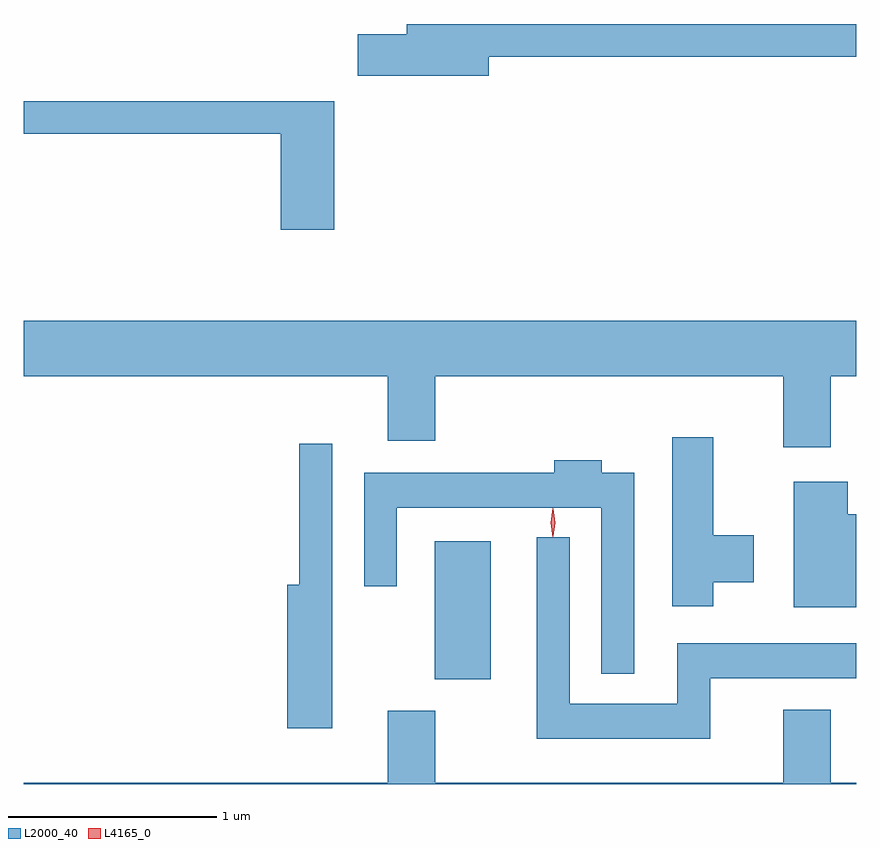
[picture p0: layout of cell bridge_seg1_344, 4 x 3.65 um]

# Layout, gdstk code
import gdstk
lib = gdstk.Library(unit=1e-6, precision=1e-09)
def R(c, l, rs):  # rectangles x0, y0, x1, y1
    for r in rs: c.add(gdstk.rectangle(r[:2], r[2:], *l))
def P(c, l, *ps):  # polygons
    for p in ps: c.add(gdstk.Polygon(p, *l))
L2000_40 = (2000, 40)
L4165_0 = (4165, 0)

bridge_seg1_344 = lib.new_cell('bridge_seg1_344')
R(bridge_seg1_344, L2000_40, [(941.946,884.801,942.214,885.464)])
P(bridge_seg1_344, L2000_40, [(942.204,887.791),(943.971,887.791),(943.971,887.949),(941.811,887.949),(941.811,887.899),(941.576,887.899),(941.576,887.701),(942.204,887.701)],
  [(941.464,887.579),(939.971,887.579),(939.971,887.421),(941.206,887.421),(941.206,886.961),(941.464,886.961)],
  [(943.849,886.256),(943.971,886.256),(943.971,886.524),(939.971,886.524),(939.971,886.256),(941.721,886.256),(941.721,885.946),(941.949,885.946),(941.949,886.256),(943.621,886.256),(943.621,885.916),(943.849,885.916)],
  [(943.284,885.266),(943.479,885.266),(943.479,885.494),(943.284,885.494),(943.284,885.964),(943.086,885.964),(943.086,885.151),(943.284,885.151)],
  [(941.454,885.933),(941.296,885.933),(941.296,885.254),(941.236,885.254),(941.236,884.566),(941.454,884.566)],
  [(942.904,885.794),(942.749,885.794),(942.749,885.854),(942.521,885.854),(942.521,885.794),(941.606,885.794),(941.606,885.248),(941.764,885.248),(941.764,885.626),(942.746,885.626),(942.746,884.828),(942.904,884.828)],
  [(943.971,885.594),(943.929,885.594),(943.929,885.749),(943.671,885.749),(943.671,885.146),(943.971,885.146)],
  [(943.269,884.806),(943.971,884.806),(943.971,884.974),(943.111,884.974),(943.111,884.684),(942.594,884.684),(942.594,885.483),(942.436,885.483),(942.436,884.516),(943.269,884.516)],
  [(943.971,884.304),(943.849,884.304),(943.849,884.654),(943.621,884.654),(943.621,884.304),(941.949,884.304),(941.949,884.649),(941.721,884.649),(941.721,884.304),(939.971,884.304),(939.971,884.298),(943.971,884.298)])
P(bridge_seg1_344, L4165_0, [(942.515,885.487),(942.514,885.488),(942.505,885.554),(942.514,885.62),(942.514,885.62),(942.515,885.62),(942.524,885.554),(942.515,885.488)],
  [(942.512,885.484),(942.503,885.553),(942.512,885.622),(942.513,885.623),(942.513,885.622),(942.523,885.553),(942.513,885.484),(942.513,885.484)])

lib.write_gds('bridge_seg1_344.gds')
